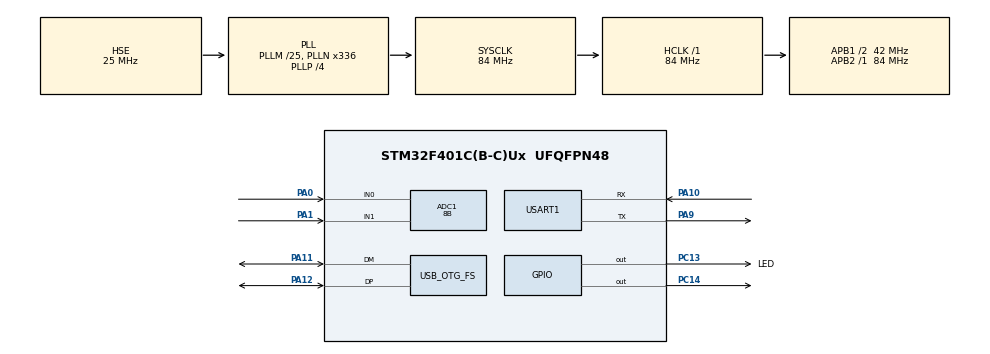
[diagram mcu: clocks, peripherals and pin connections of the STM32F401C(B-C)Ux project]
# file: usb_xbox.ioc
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ADC1.Channel-0\#ChannelRegularConversion=ADC_CHANNEL_0
ADC1.Channel-1\#ChannelRegularConversion=ADC_CHANNEL_1
ADC1.ContinuousConvMode=ENABLE
ADC1.DMAContinuousRequests=ENABLE
ADC1.NbrOfConversion=2
ADC1.NbrOfConversionFlag=1
ADC1.Rank-0\#ChannelRegularConversion=1
ADC1.Rank-1\#ChannelRegularConversion=2
ADC1.Resolution=ADC_RESOLUTION_8B
ADC1.SamplingTime-0\#ChannelRegularConversion=ADC_SAMPLETIME_56CYCLES
ADC1.SamplingTime-1\#ChannelRegularConversion=ADC_SAMPLETIME_56CYCLES
ADC1.ScanConvMode=ENABLE
ADC1.master=1
Dma.ADC1.0.Direction=DMA_PERIPH_TO_MEMORY
Dma.ADC1.0.FIFOMode=DMA_FIFOMODE_DISABLE
Dma.ADC1.0.Instance=DMA2_Stream0
Dma.ADC1.0.MemDataAlignment=DMA_MDATAALIGN_HALFWORD
Dma.ADC1.0.MemInc=DMA_MINC_ENABLE
Dma.ADC1.0.Mode=DMA_CIRCULAR
Dma.ADC1.0.PeriphDataAlignment=DMA_PDATAALIGN_HALFWORD
Dma.ADC1.0.PeriphInc=DMA_PINC_DISABLE
Dma.ADC1.0.Priority=DMA_PRIORITY_LOW
Dma.Request0=ADC1
Mcu.Family=STM32F4
Mcu.Name=STM32F401C(B-C)Ux
Mcu.Package=UFQFPN48
NVIC.DMA2_Stream0_IRQn=true\:0\:0\:false\:false\:true\:false\:true\:true
NVIC.FPU_IRQn=true\:0\:0\:false\:false\:true\:true\:false\:true
NVIC.OTG_FS_IRQn=true\:0\:1\:true\:false\:true\:false\:true\:true
NVIC.PriorityGroup=NVIC_PRIORITYGROUP_2
NVIC.TIM1_TRG_COM_TIM11_IRQn=true\:3\:0\:true\:false\:true\:true\:true\:true
PA0-WKUP.Signal=ADCx_IN0
PA1.Signal=ADCx_IN1
PA10.Mode=Asynchronous
PA10.Signal=USART1_RX
PA11.Mode=Host_Only
PA11.Signal=USB_OTG_FS_DM
PA12.Mode=Host_Only
PA12.Signal=USB_OTG_FS_DP
PA13.Mode=Serial_Wire
PA13.Signal=SYS_JTMS-SWDIO
PA14.Mode=Serial_Wire
PA14.Signal=SYS_JTCK-SWCLK
PA9.Mode=Asynchronous
PA9.Signal=USART1_TX
PC13-ANTI_TAMP.GPIO_Label=LED
PC13-ANTI_TAMP.PinState=GPIO_PIN_SET
PC13-ANTI_TAMP.Signal=GPIO_Output
PC14-OSC32_IN.Signal=GPIO_Output
PH0\ -\ OSC_IN.Mode=HSE-External-Oscillator
PH0\ -\ OSC_IN.Signal=RCC_OSC_IN
PH1\ -\ OSC_OUT.Mode=HSE-External-Oscillator
PH1\ -\ OSC_OUT.Signal=RCC_OSC_OUT
ProjectManager.HeapSize=0x200
ProjectManager.StackSize=0x400
ProjectManager.TargetToolchain=STM32CubeIDE
RCC.48MHZClocksFreq_Value=48000000
RCC.AHBFreq_Value=84000000
RCC.APB1CLKDivider=RCC_HCLK_DIV2
RCC.APB1Freq_Value=42000000
RCC.APB1TimFreq_Value=84000000
RCC.APB2Freq_Value=84000000
RCC.APB2TimFreq_Value=84000000
RCC.CortexFreq_Value=84000000
RCC.HCLKFreq_Value=84000000
RCC.HSE_VALUE=25000000
RCC.HSI_VALUE=16000000
RCC.LSE_VALUE=32768
RCC.PLLM=25
RCC.PLLN=336
RCC.PLLP=RCC_PLLP_DIV4
RCC.PLLQ=7
RCC.SYSCLKFreq_VALUE=84000000
RCC.SYSCLKSource=RCC_SYSCLKSOURCE_PLLCLK
RCC.VCOOutputFreq_Value=336000000
SH.ADCx_IN0.0=ADC1_IN0,IN0
SH.ADCx_IN1.0=ADC1_IN1,IN1
TIM11.Period=199
TIM11.Prescaler=8499
USART1.VirtualMode=VM_ASYNC
USB_HOST.USBH_DEBUG_LEVEL=3
USB_HOST.USBH_HandleTypeDef=hUsbHostFS
USB_HOST.VirtualModeFS=All_Classes
USB_OTG_FS.VirtualMode=Host_Only
USB_OTG_FS.phy_itface=HCD_PHY_EMBEDDED
VP_TIM11_VS_ClockSourceINT.Mode=Enable_Timer
VP_USB_HOST_VS_USB_HOST_ALL_CLASS_FS.Mode=ALL_Classes_FS
board=custom

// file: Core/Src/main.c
/* USER CODE BEGIN Header */
/**
 ******************************************************************************
 * @file           : main.c
 * @brief          : Main program body
 ******************************************************************************
 * @attention
 *
 * Copyright (c) 2022 STMicroelectronics.
 * All rights reserved.
 *
 * This software is licensed under terms that can be found in the LICENSE file
 * in the root directory of this software component.
 * If no LICENSE file comes with this software, it is provided AS-IS.
 *
 ******************************************************************************
 */
/* USER CODE END Header */
#include "main.h"
#include "adc.h"
#include "dma.h"
#include "tim.h"
#include "usart.h"
#include "usb_host.h"
#include "gpio.h"

/* USER CODE BEGIN Includes */
#include "stdio.h"
#include "usbh_hid.h"
#include "usbh_hid_parser.h"
#include "usb_host.h"
#include "usbh_core.h"
#include "string.h"
/* USER CODE END Includes */

/* USER CODE BEGIN PD */
#ifdef __GNUC__
#define PUTCHAR_PROTOTYPE int __io_putchar(int ch)
#else
#define PUTCHAR_PROTOTYPE int fputc(int ch, FILE *f)
#endif /* __GNUC__ */
PUTCHAR_PROTOTYPE {
	/* Place your implementation of fputc here */
	/* e.g. write a character to the USART */
	huart1.Instance->DR = (uint8_t) ch;

	/* Loop until the end of transmission */
	while (__HAL_UART_GET_FLAG(&huart1, UART_FLAG_TC) == RESET) {
	}

	return ch;
}
extern uint8_t RX_BUFF[10];
uint8_t buff[10];
/* USER CODE END PD */

void SystemClock_Config(void);
void MX_USB_HOST_Process(void);

int main(void)
{

  /* MCU Configuration--------------------------------------------------------*/

  /* Reset of all peripherals, Initializes the Flash interface and the Systick. */
  HAL_Init();

  /* Configure the system clock */
  SystemClock_Config();

  /* Initialize all configured peripherals */
  MX_GPIO_Init();
  MX_DMA_Init();
  MX_ADC1_Init();
  MX_TIM11_Init();
  MX_USB_HOST_Init();
  MX_USART1_UART_Init();
  /* USER CODE BEGIN 2 */
	printf("hello world\r\n");
	USBH_UsrLog("USB");
	HAL_Delay(500);

  /* USER CODE END 2 */

  /* Infinite loop */
	while (1) {
    MX_USB_HOST_Process();

	}
}

void SystemClock_Config(void)
{
  RCC_OscInitTypeDef RCC_OscInitStruct = {0};
  RCC_ClkInitTypeDef RCC_ClkInitStruct = {0};

  /** Configure the main internal regulator output voltage
  */
  __HAL_RCC_PWR_CLK_ENABLE();
  __HAL_PWR_VOLTAGESCALING_CONFIG(PWR_REGULATOR_VOLTAGE_SCALE2);

  /** Initializes the RCC Oscillators according to the specified parameters
  * in the RCC_OscInitTypeDef structure.
  */
  RCC_OscInitStruct.OscillatorType = RCC_OSCILLATORTYPE_HSE;
  RCC_OscInitStruct.HSEState = RCC_HSE_ON;
  RCC_OscInitStruct.PLL.PLLState = RCC_PLL_ON;
  RCC_OscInitStruct.PLL.PLLSource = RCC_PLLSOURCE_HSE;
  RCC_OscInitStruct.PLL.PLLM = 25;
  RCC_OscInitStruct.PLL.PLLN = 336;
  RCC_OscInitStruct.PLL.PLLP = RCC_PLLP_DIV4;
  RCC_OscInitStruct.PLL.PLLQ = 7;
  if (HAL_RCC_OscConfig(&RCC_OscInitStruct) != HAL_OK)
  {
    Error_Handler();
  }

  /** Initializes the CPU, AHB and APB buses clocks
  */
  RCC_ClkInitStruct.ClockType = RCC_CLOCKTYPE_HCLK|RCC_CLOCKTYPE_SYSCLK
                              |RCC_CLOCKTYPE_PCLK1|RCC_CLOCKTYPE_PCLK2;
  RCC_ClkInitStruct.SYSCLKSource = RCC_SYSCLKSOURCE_PLLCLK;
  RCC_ClkInitStruct.AHBCLKDivider = RCC_SYSCLK_DIV1;
  RCC_ClkInitStruct.APB1CLKDivider = RCC_HCLK_DIV2;
  RCC_ClkInitStruct.APB2CLKDivider = RCC_HCLK_DIV1;

  if (HAL_RCC_ClockConfig(&RCC_ClkInitStruct, FLASH_LATENCY_2) != HAL_OK)
  {
    Error_Handler();
  }
}

/* USER CODE BEGIN 4 */
void USBH_HID_EventCallback(USBH_HandleTypeDef *phost) {
	int i = 0;
	if (memcmp((void*)&buff, (void*)&RX_BUFF,10) != 0) {
		memcpy((void*)&buff,(void*)&RX_BUFF,10);
		printf("rx:\r\n");
		for (i = 0; i < 10; i++) {
			printf("0x%X ", RX_BUFF[i]);
		}
		printf("\r\n");
		HAL_GPIO_TogglePin(GPIOC, GPIO_PIN_13);

	}
}
/* USER CODE END 4 */

void Error_Handler(void)
{
	__disable_irq();
	while (1) {
	}
}
